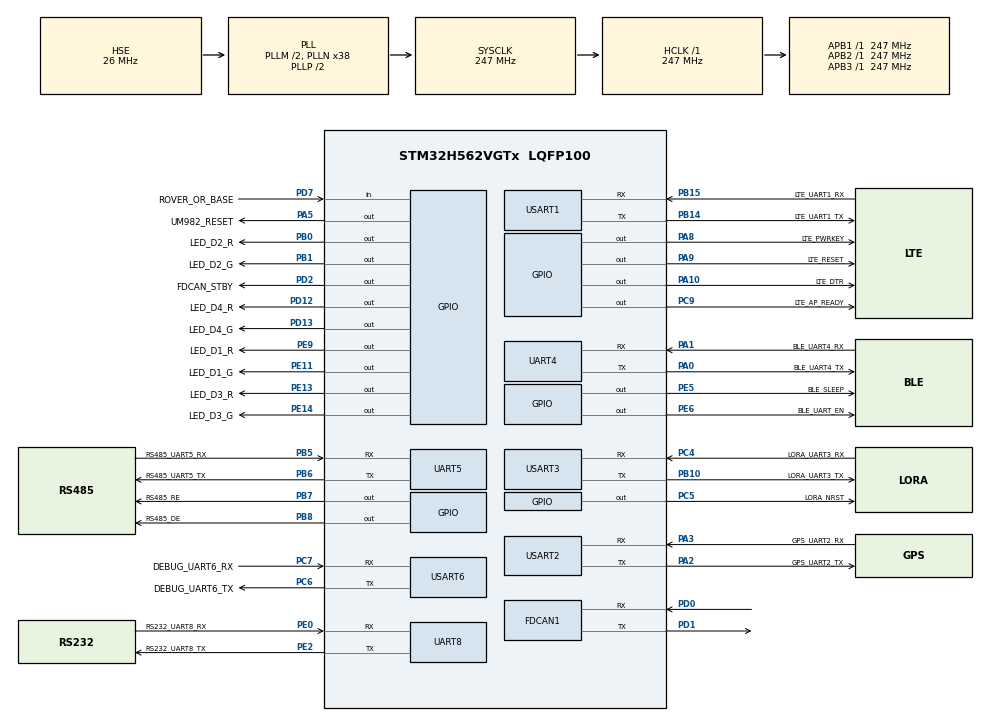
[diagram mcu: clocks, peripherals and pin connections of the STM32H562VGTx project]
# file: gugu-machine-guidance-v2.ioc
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BOOTPATH.BootPathName=LEGACY
BOOTPATH.UserSelectedBootPath=LEGACY
CORTEX_M33_NS.userName=CORTEX_M33
FDCAN1.CalculateBaudRateNominal=541666
FDCAN1.CalculateTimeBitNominal=1846
FDCAN1.CalculateTimeQuantumNominal=615.3846153846154
GPDMA1.CIRCULARMODE_GPDMACH4=ENABLE
GPDMA1.CIRCULARMODE_GPDMACH5=ENABLE
GPDMA1.CIRCULARMODE_GPDMACH6=ENABLE
GPDMA1.CIRCULARMODE_GPDMACH7=ENABLE
GPDMA1.IPHANDLE_GPDMACH4-SIMPLEREQUEST_GPDMACH4=__NULL
GPDMA1.IPHANDLE_GPDMACH5-SIMPLEREQUEST_GPDMACH5=__NULL
GPDMA1.IPHANDLE_GPDMACH6-SIMPLEREQUEST_GPDMACH6=__NULL
GPDMA1.IPHANDLE_GPDMACH7-SIMPLEREQUEST_GPDMACH7=__NULL
GPDMA1.REQUEST_GPDMACH4=GPDMA1_REQUEST_USART1_RX
GPDMA1.REQUEST_GPDMACH5=GPDMA1_REQUEST_UART4_RX
GPDMA1.REQUEST_GPDMACH6=GPDMA1_REQUEST_UART5_RX
GPDMA1.REQUEST_GPDMACH7=GPDMA1_REQUEST_USART6_RX
GPDMA2.CIRCULARMODE_GPDMACH4=ENABLE
GPDMA2.CIRCULARMODE_GPDMACH5=ENABLE
GPDMA2.CIRCULARMODE_GPDMACH6=ENABLE
GPDMA2.IPHANDLE_GPDMACH4-SIMPLEREQUEST_GPDMACH4=__NULL
GPDMA2.IPHANDLE_GPDMACH5-SIMPLEREQUEST_GPDMACH5=__NULL
GPDMA2.IPHANDLE_GPDMACH6-SIMPLEREQUEST_GPDMACH6=__NULL
GPDMA2.REQUEST_GPDMACH4=GPDMA2_REQUEST_USART2_RX
GPDMA2.REQUEST_GPDMACH5=GPDMA2_REQUEST_USART3_RX
GPDMA2.REQUEST_GPDMACH6=GPDMA2_REQUEST_UART8_RX
Mcu.Family=STM32H5
Mcu.Name=STM32H562VGTx
Mcu.Package=LQFP100
NVIC.FDCAN1_IT0_IRQn=true\:5\:0\:true\:false\:true\:true\:true\:true
NVIC.FDCAN1_IT1_IRQn=true\:5\:0\:true\:false\:true\:true\:true\:true
NVIC.GPDMA1_Channel4_IRQn=true\:5\:0\:true\:false\:true\:false\:true\:true
NVIC.GPDMA1_Channel5_IRQn=true\:5\:0\:true\:false\:true\:false\:true\:true
NVIC.GPDMA1_Channel6_IRQn=true\:5\:0\:true\:false\:true\:false\:true\:true
NVIC.GPDMA1_Channel7_IRQn=true\:5\:0\:true\:false\:true\:false\:true\:true
NVIC.GPDMA2_Channel4_IRQn=true\:5\:0\:true\:false\:true\:false\:true\:true
NVIC.GPDMA2_Channel5_IRQn=true\:5\:0\:true\:false\:true\:false\:true\:true
NVIC.GPDMA2_Channel6_IRQn=true\:5\:0\:true\:false\:true\:false\:true\:true
NVIC.PriorityGroup=NVIC_PRIORITYGROUP_4
NVIC.TIM6_IRQn=true\:15\:0\:false\:false\:true\:false\:true\:true
NVIC.TimeBase=TIM6_IRQn
NVIC.TimeBaseIP=TIM6
NVIC.UART4_IRQn=true\:5\:0\:true\:false\:true\:true\:true\:true
NVIC.UART5_IRQn=true\:5\:0\:true\:false\:true\:true\:true\:true
NVIC.UART8_IRQn=true\:5\:0\:true\:false\:true\:true\:true\:true
NVIC.USART1_IRQn=true\:5\:0\:true\:false\:true\:true\:true\:true
NVIC.USART2_IRQn=true\:5\:0\:true\:false\:true\:true\:true\:true
NVIC.USART3_IRQn=true\:5\:0\:true\:false\:true\:true\:true\:true
NVIC.USART6_IRQn=true\:5\:0\:true\:false\:true\:true\:true\:true
PA0.GPIO_Label=BLE_UART4_TX
PA0.Mode=Asynchronous
PA0.Signal=UART4_TX
PA1.GPIO_Label=BLE_UART4_RX
PA1.Mode=Asynchronous
PA1.Signal=UART4_RX
PA10.GPIO_Label=LTE_DTR
PA10.Signal=GPIO_Output
PA13(JTMS/SWDIO).Mode=Serial_Wire
PA13(JTMS/SWDIO).Signal=DEBUG_JTMS-SWDIO
PA14(JTCK/SWCLK).Mode=Serial_Wire
PA14(JTCK/SWCLK).Signal=DEBUG_JTCK-SWCLK
PA2.GPIO_Label=GPS_UART2_TX
PA2.Mode=Asynchronous
PA2.Signal=USART2_TX
PA3.GPIO_Label=GPS_UART2_RX
PA3.Mode=Asynchronous
PA3.Signal=USART2_RX
PA5.GPIO_Label=UM982_RESET
PA5.Signal=GPIO_Output
PA8.GPIO_Label=LTE_PWRKEY
PA8.Signal=GPIO_Output
PA9.GPIO_Label=LTE_RESET
PA9.Signal=GPIO_Output
PB0.GPIO_Label=LED_D2_R
PB0.Signal=GPIO_Output
PB1.GPIO_Label=LED_D2_G
PB1.Signal=GPIO_Output
PB10.GPIO_Label=LORA_UART3_TX
PB10.Mode=Asynchronous
PB10.Signal=USART3_TX
PB14.GPIO_Label=LTE_UART1_TX
PB14.Mode=Asynchronous
PB14.Signal=USART1_TX
PB15.GPIO_Label=LTE_UART1_RX
PB15.Mode=Asynchronous
PB15.Signal=USART1_RX
PB5.GPIO_Label=RS485_UART5_RX
PB5.Mode=Asynchronous
PB5.Signal=UART5_RX
PB6.GPIO_Label=RS485_UART5_TX
PB6.Mode=Asynchronous
PB6.Signal=UART5_TX
PB7.GPIO_Label=RS485_RE
PB7.Signal=GPIO_Output
PB8.GPIO_Label=RS485_DE
PB8.Signal=GPIO_Output
PC4.GPIO_Label=LORA_UART3_RX
PC4.Mode=Asynchronous
PC4.Signal=USART3_RX
PC5.GPIO_Label=LORA_NRST
PC5.Signal=GPIO_Output
PC6.GPIO_Label=DEBUG_UART6_TX
PC6.Mode=Asynchronous
PC6.Signal=USART6_TX
PC7.GPIO_Label=DEBUG_UART6_RX
PC7.Mode=Asynchronous
PC7.Signal=USART6_RX
PC9.GPIO_Label=LTE_AP_READY
PC9.Signal=GPIO_Output
PD0.Mode=FDCAN_Activate
PD0.Signal=FDCAN1_RX
PD1.Mode=FDCAN_Activate
PD1.Signal=FDCAN1_TX
PD12.GPIO_Label=LED_D4_R
PD12.Signal=GPIO_Output
PD13.GPIO_Label=LED_D4_G
PD13.Signal=GPIO_Output
PD2.GPIO_Label=FDCAN_STBY
PD2.Signal=GPIO_Output
PD7.GPIO_Label=ROVER_OR_BASE
PD7.Signal=GPIO_Input
PE0.GPIO_Label=RS232_UART8_RX
PE0.Mode=Asynchronous
PE0.Signal=UART8_RX
PE11.GPIO_Label=LED_D1_G
PE11.Signal=GPIO_Output
PE13.GPIO_Label=LED_D3_R
PE13.Signal=GPIO_Output
PE14.GPIO_Label=LED_D3_G
PE14.Signal=GPIO_Output
PE2.GPIO_Label=RS232_UART8_TX
PE2.Mode=Asynchronous
PE2.Signal=UART8_TX
PE5.GPIO_Label=BLE_SLEEP
PE5.Signal=GPIO_Output
PE6.GPIO_Label=BLE_UART_EN
PE6.Signal=GPIO_Output
PE9.GPIO_Label=LED_D1_R
PE9.Signal=GPIO_Output
PH0-OSC_IN(PH0).Mode=HSE-External-Oscillator
PH0-OSC_IN(PH0).Signal=RCC_OSC_IN
PH1-OSC_OUT(PH1).Mode=HSE-External-Oscillator
PH1-OSC_OUT(PH1).Signal=RCC_OSC_OUT
ProjectManager.HeapSize=0x200
ProjectManager.StackSize=0x400
ProjectManager.TargetToolchain=STM32CubeIDE
RCC.ADCFreq_Value=247000000
RCC.AHBFreq_Value=247000000
RCC.APB1Freq_Value=247000000
RCC.APB1TimFreq_Value=247000000
RCC.APB2Freq_Value=247000000
RCC.APB2TimFreq_Value=247000000
RCC.APB3Freq_Value=247000000
RCC.CSI_VALUE=4000000
RCC.CortexFreq_Value=247000000
RCC.EPOD_VALUE=26000000
RCC.HCLKFreq_Value=247000000
RCC.HSE_VALUE=26000000
RCC.HSI48_VALUE=48000000
RCC.HSI_VALUE=64000000
RCC.LSE_VALUE=32768
RCC.LSIRC_VALUE=32000
RCC.PLL2Source=RCC_PLL2_SOURCE_HSE
RCC.PLL3Source=RCC_PLL3_SOURCE_HSE
RCC.PLLFRACN=0
RCC.PLLM=2
RCC.PLLN=38
RCC.PLLSourceVirtual=RCC_PLL1_SOURCE_HSE
RCC.SYSCLKFreq_VALUE=247000000
RCC.SYSCLKSource=RCC_SYSCLKSOURCE_PLLCLK
RCC.USBFreq_Value=48000000
RCC.VCOOutputFreq_Value=494000000
USART1.VirtualMode-Asynchronous=VM_ASYNC
USART2.VirtualMode-Asynchronous=VM_ASYNC
USART3.VirtualMode-Asynchronous=VM_ASYNC
USART6.VirtualMode=VM_ASYNC
VP_BOOTPATH_VS_BOOTPATH.Mode=BP_Activate
VP_CORTEX_M33_NS_VS_Hclk.Mode=Hclk_Mode
VP_GPDMA1_VS_GPDMACH4.Mode=SIMPLEREQUEST_GPDMACH4
VP_GPDMA1_VS_GPDMACH5.Mode=SIMPLEREQUEST_GPDMACH5
VP_GPDMA1_VS_GPDMACH6.Mode=SIMPLEREQUEST_GPDMACH6
VP_GPDMA1_VS_GPDMACH7.Mode=SIMPLEREQUEST_GPDMACH7
VP_GPDMA2_VS_GPDMACH4.Mode=SIMPLEREQUEST_GPDMACH4
VP_GPDMA2_VS_GPDMACH5.Mode=SIMPLEREQUEST_GPDMACH5
VP_GPDMA2_VS_GPDMACH6.Mode=SIMPLEREQUEST_GPDMACH6
VP_MEMORYMAP_VS_MEMORYMAP.Mode=CurAppReg
VP_PWR_VS_LPOM.Mode=PowerOptimisation
VP_PWR_VS_SECSignals.Mode=Security/Privilege
VP_SYS_VS_tim6.Mode=TIM6
board=custom

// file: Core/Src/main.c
/* USER CODE BEGIN Header */
/**
  ******************************************************************************
  * @file           : main.c
  * @brief          : Main program body
  ******************************************************************************
  * @attention
  *
  * Copyright (c) 2026 STMicroelectronics.
  * All rights reserved.
  *
  * This software is licensed under terms that can be found in the LICENSE file
  * in the root directory of this software component.
  * If no LICENSE file comes with this software, it is provided AS-IS.
  *
  ******************************************************************************
  */
/* USER CODE END Header */
#include "main.h"

FDCAN_HandleTypeDef hfdcan1;

UART_HandleTypeDef huart4;
UART_HandleTypeDef huart5;
UART_HandleTypeDef huart8;
UART_HandleTypeDef huart1;
UART_HandleTypeDef huart2;
UART_HandleTypeDef huart3;
UART_HandleTypeDef huart6;
DMA_NodeTypeDef Node_GPDMA1_Channel5;
DMA_QListTypeDef List_GPDMA1_Channel5;
DMA_HandleTypeDef handle_GPDMA1_Channel5;
DMA_NodeTypeDef Node_GPDMA1_Channel6;
DMA_QListTypeDef List_GPDMA1_Channel6;
DMA_HandleTypeDef handle_GPDMA1_Channel6;
DMA_NodeTypeDef Node_GPDMA2_Channel6;
DMA_QListTypeDef List_GPDMA2_Channel6;
DMA_HandleTypeDef handle_GPDMA2_Channel6;
DMA_NodeTypeDef Node_GPDMA1_Channel4;
DMA_QListTypeDef List_GPDMA1_Channel4;
DMA_HandleTypeDef handle_GPDMA1_Channel4;
DMA_NodeTypeDef Node_GPDMA2_Channel4;
DMA_QListTypeDef List_GPDMA2_Channel4;
DMA_HandleTypeDef handle_GPDMA2_Channel4;
DMA_NodeTypeDef Node_GPDMA2_Channel5;
DMA_QListTypeDef List_GPDMA2_Channel5;
DMA_HandleTypeDef handle_GPDMA2_Channel5;
DMA_NodeTypeDef Node_GPDMA1_Channel7;
DMA_QListTypeDef List_GPDMA1_Channel7;
DMA_HandleTypeDef handle_GPDMA1_Channel7;

void SystemClock_Config(void);
static void MX_GPIO_Init(void);
static void MX_GPDMA1_Init(void);
static void MX_GPDMA2_Init(void);

/* USER CODE BEGIN 0 */
uint32_t uart_send(USART_TypeDef *handle, const char *buf, size_t len) {
    for (int i = 0; i < len; i++) {
        while (!LL_USART_IsActiveFlag_TXE(handle))
            ;
        LL_USART_TransmitData8(handle, *(buf + i));
    }

    while (!LL_USART_IsActiveFlag_TC(handle))
        ;

    return len;
}

static void dwt_init(void) {
    CoreDebug->DEMCR |= CoreDebug_DEMCR_TRCENA_Msk;
    DWT->CYCCNT = 0;
    DWT->CTRL |= DWT_CTRL_CYCCNTENA_Msk;
}

void initThread(void *pvParameter) {
    const board_config_t *config = board_get_config();
    user_params_t *params = flash_params_get_current();
    dwt_init();
    flash_params_init();
    event_bus_init();
    gps_app_start();

    /* Base 모드 + Auto-Fix 활성화일 때 초기화 */
    if (gps_role_is_base() && params->base_auto_fix_enabled) {
        LOG_INFO("Base Auto-Fix 모드 활성화");
        if (base_auto_fix_init(0)) {
            if (base_auto_fix_start()) {
                LOG_INFO("Base Auto-Fix 시작 성공");
            }
            else {
                LOG_ERR("Base Auto-Fix 시작 실패");
            }
        }
        else {
            LOG_ERR("Base Auto-Fix 초기화 실패");
        }
        gsm_task_create(NULL); // NTRIP 시작
        lora_app_start();      // LoRa 시작
        ble_app_start();       // BLE 시작
    }

    //  flash_params_set_manual_position(true, "37.2901527", "127.033646955", "100.918");

    //	flash_params_set_ntrip_url("www.gnssdata.or.kr");
    //	flash_params_set_ntrip_port("2101");
    //	flash_params_set_ntrip_mountpoint("SONP-RTCM32");
    //	flash_params_set_ntrip_id("mj.kang@iotiz.kr");
    //	flash_params_set_ntrip_pw("gnss");

    //	 flash_params_set_ntrip_url("ntrip.hi-rtk.io");
    //	 flash_params_set_ntrip_port("2101");
    //	 flash_params_set_ntrip_mountpoint("RTK_SMT_MSG");
    //	 flash_params_set_ntrip_id("iotiz1");
    //	 flash_params_set_ntrip_pw("1234");

    // flash_params_set_ntrip_url("RTS1.ngii.go.kr");
    // flash_params_set_ntrip_port("2101");
    // flash_params_set_ntrip_mountpoint("VRS-RTCM31");
    // flash_params_set_ntrip_id("nb030761");
    // flash_params_set_ntrip_pw("ngii");

    //  led_init();
    //
    //  if(config->board == BOARD_TYPE_BASE_F9P || config->board == BOARD_TYPE_BASE_UM982)
    //  {
    //    gps_init_all();
    //
    //    if(params->use_manual_position == false)
    //    {
    //      // gsm_task_create(NULL);
    //    }
    //
    //    // lora_app_start();
    //  }
    //
    //  if(config->use_rs485)
    //  {
    //    dwt_init();
    //
    //    #if USE_SOFTUART
    //      rs485_app_init();
    //#else
    //      rs485_init_all();
    //    #endif
    //  }
    //
    //  if(config->use_ble)
    //  {
    //	  ble_app_start();
    //  }

    vTaskDelete(NULL);
}

/* USER CODE END 0 */

int main(void) {

    /* MCU Configuration--------------------------------------------------------*/

    /* Reset of all peripherals, Initializes the Flash interface and the Systick. */
    HAL_Init();

    /* Configure the system clock */
    SystemClock_Config();

    /* Initialize all configured peripherals */
    MX_GPIO_Init();
    MX_GPDMA1_Init();
    MX_GPDMA2_Init();
    MX_USART1_UART_Init();
    MX_FDCAN1_Init();
    MX_USART2_UART_Init();
    MX_UART4_Init();
    MX_UART5_Init();
    MX_UART8_Init();
    MX_USART6_UART_Init();
    MX_USART3_UART_Init();
    /* USER CODE BEGIN 2 */
    SEGGER_SYSVIEW_DisableEvents(SYSVIEW_EVTMASK_ISR_ENTER | SYSVIEW_EVTMASK_ISR_EXIT);
    traceSTART();
    xTaskCreate(initThread, "init", 512, NULL, tskIDLE_PRIORITY + 1, NULL);
    vTaskStartScheduler();
    /* USER CODE END 2 */

    /* Infinite loop */
    while (1) {

    }
}

void SystemClock_Config(void) {
    RCC_OscInitTypeDef RCC_OscInitStruct = {0};
    RCC_ClkInitTypeDef RCC_ClkInitStruct = {0};

    /** Configure the main internal regulator output voltage
  */
    __HAL_PWR_VOLTAGESCALING_CONFIG(PWR_REGULATOR_VOLTAGE_SCALE0);

    while (!__HAL_PWR_GET_FLAG(PWR_FLAG_VOSRDY)) {}

    /** Initializes the RCC Oscillators according to the specified parameters
  * in the RCC_OscInitTypeDef structure.
  */
    RCC_OscInitStruct.OscillatorType = RCC_OSCILLATORTYPE_HSE;
    RCC_OscInitStruct.HSEState = RCC_HSE_ON;
    RCC_OscInitStruct.PLL.PLLState = RCC_PLL_ON;
    RCC_OscInitStruct.PLL.PLLSource = RCC_PLL1_SOURCE_HSE;
    RCC_OscInitStruct.PLL.PLLM = 2;
    RCC_OscInitStruct.PLL.PLLN = 38;
    RCC_OscInitStruct.PLL.PLLP = 2;
    RCC_OscInitStruct.PLL.PLLQ = 2;
    RCC_OscInitStruct.PLL.PLLR = 2;
    RCC_OscInitStruct.PLL.PLLRGE = RCC_PLL1_VCIRANGE_3;
    RCC_OscInitStruct.PLL.PLLVCOSEL = RCC_PLL1_VCORANGE_WIDE;
    RCC_OscInitStruct.PLL.PLLFRACN = 0;
    if (HAL_RCC_OscConfig(&RCC_OscInitStruct) != HAL_OK) {
        Error_Handler();
    }

    /** Initializes the CPU, AHB and APB buses clocks
  */
    RCC_ClkInitStruct.ClockType = RCC_CLOCKTYPE_HCLK | RCC_CLOCKTYPE_SYSCLK | RCC_CLOCKTYPE_PCLK1 |
                                  RCC_CLOCKTYPE_PCLK2 | RCC_CLOCKTYPE_PCLK3;
    RCC_ClkInitStruct.SYSCLKSource = RCC_SYSCLKSOURCE_PLLCLK;
    RCC_ClkInitStruct.AHBCLKDivider = RCC_SYSCLK_DIV1;
    RCC_ClkInitStruct.APB1CLKDivider = RCC_HCLK_DIV1;
    RCC_ClkInitStruct.APB2CLKDivider = RCC_HCLK_DIV1;
    RCC_ClkInitStruct.APB3CLKDivider = RCC_HCLK_DIV1;

    if (HAL_RCC_ClockConfig(&RCC_ClkInitStruct, FLASH_LATENCY_5) != HAL_OK) {
        Error_Handler();
    }

    /** Configure the programming delay
  */
    __HAL_FLASH_SET_PROGRAM_DELAY(FLASH_PROGRAMMING_DELAY_2);
}

void MX_FDCAN1_Init(void) {

    hfdcan1.Instance = FDCAN1;
    hfdcan1.Init.ClockDivider = FDCAN_CLOCK_DIV1;
    hfdcan1.Init.FrameFormat = FDCAN_FRAME_CLASSIC;
    hfdcan1.Init.Mode = FDCAN_MODE_NORMAL;
    hfdcan1.Init.AutoRetransmission = DISABLE;
    hfdcan1.Init.TransmitPause = DISABLE;
    hfdcan1.Init.ProtocolException = DISABLE;
    hfdcan1.Init.NominalPrescaler = 16;
    hfdcan1.Init.NominalSyncJumpWidth = 1;
    hfdcan1.Init.NominalTimeSeg1 = 1;
    hfdcan1.Init.NominalTimeSeg2 = 1;
    hfdcan1.Init.DataPrescaler = 1;
    hfdcan1.Init.DataSyncJumpWidth = 1;
    hfdcan1.Init.DataTimeSeg1 = 1;
    hfdcan1.Init.DataTimeSeg2 = 1;
    hfdcan1.Init.StdFiltersNbr = 0;
    hfdcan1.Init.ExtFiltersNbr = 0;
    hfdcan1.Init.TxFifoQueueMode = FDCAN_TX_FIFO_OPERATION;
    if (HAL_FDCAN_Init(&hfdcan1) != HAL_OK) {
        Error_Handler();
    }
}

static void MX_GPDMA1_Init(void) {

    /* Peripheral clock enable */
    __HAL_RCC_GPDMA1_CLK_ENABLE();

    /* GPDMA1 interrupt Init */
    HAL_NVIC_SetPriority(GPDMA1_Channel4_IRQn, 5, 0);
    HAL_NVIC_EnableIRQ(GPDMA1_Channel4_IRQn);
    HAL_NVIC_SetPriority(GPDMA1_Channel5_IRQn, 5, 0);
    HAL_NVIC_EnableIRQ(GPDMA1_Channel5_IRQn);
    HAL_NVIC_SetPriority(GPDMA1_Channel6_IRQn, 5, 0);
    HAL_NVIC_EnableIRQ(GPDMA1_Channel6_IRQn);
    HAL_NVIC_SetPriority(GPDMA1_Channel7_IRQn, 5, 0);
    HAL_NVIC_EnableIRQ(GPDMA1_Channel7_IRQn);

}

static void MX_GPDMA2_Init(void) {

    /* Peripheral clock enable */
    __HAL_RCC_GPDMA2_CLK_ENABLE();

    /* GPDMA2 interrupt Init */
    HAL_NVIC_SetPriority(GPDMA2_Channel4_IRQn, 5, 0);
    HAL_NVIC_EnableIRQ(GPDMA2_Channel4_IRQn);
    HAL_NVIC_SetPriority(GPDMA2_Channel5_IRQn, 5, 0);
    HAL_NVIC_EnableIRQ(GPDMA2_Channel5_IRQn);
    HAL_NVIC_SetPriority(GPDMA2_Channel6_IRQn, 5, 0);
    HAL_NVIC_EnableIRQ(GPDMA2_Channel6_IRQn);

}

void MX_UART4_Init(void) {

    huart4.Instance = UART4;
    huart4.Init.BaudRate = 115200;
    huart4.Init.WordLength = UART_WORDLENGTH_8B;
    huart4.Init.StopBits = UART_STOPBITS_1;
    huart4.Init.Parity = UART_PARITY_NONE;
    huart4.Init.Mode = UART_MODE_TX_RX;
    huart4.Init.HwFlowCtl = UART_HWCONTROL_NONE;
    huart4.Init.OverSampling = UART_OVERSAMPLING_16;
    huart4.Init.OneBitSampling = UART_ONE_BIT_SAMPLE_DISABLE;
    huart4.Init.ClockPrescaler = UART_PRESCALER_DIV1;
    huart4.AdvancedInit.AdvFeatureInit = UART_ADVFEATURE_NO_INIT;
    if (HAL_UART_Init(&huart4) != HAL_OK) {
        Error_Handler();
    }
    if (HAL_UARTEx_SetTxFifoThreshold(&huart4, UART_TXFIFO_THRESHOLD_1_8) != HAL_OK) {
        Error_Handler();
    }
    if (HAL_UARTEx_SetRxFifoThreshold(&huart4, UART_RXFIFO_THRESHOLD_1_8) != HAL_OK) {
        Error_Handler();
    }
    if (HAL_UARTEx_DisableFifoMode(&huart4) != HAL_OK) {
        Error_Handler();
    }
}

void MX_UART5_Init(void) {

    huart5.Instance = UART5;
    huart5.Init.BaudRate = 115200;
    huart5.Init.WordLength = UART_WORDLENGTH_8B;
    huart5.Init.StopBits = UART_STOPBITS_1;
    huart5.Init.Parity = UART_PARITY_NONE;
    huart5.Init.Mode = UART_MODE_TX_RX;
    huart5.Init.HwFlowCtl = UART_HWCONTROL_NONE;
    huart5.Init.OverSampling = UART_OVERSAMPLING_16;
    huart5.Init.OneBitSampling = UART_ONE_BIT_SAMPLE_DISABLE;
    huart5.Init.ClockPrescaler = UART_PRESCALER_DIV1;
    huart5.AdvancedInit.AdvFeatureInit = UART_ADVFEATURE_NO_INIT;
    if (HAL_UART_Init(&huart5) != HAL_OK) {
        Error_Handler();
    }
    if (HAL_UARTEx_SetTxFifoThreshold(&huart5, UART_TXFIFO_THRESHOLD_1_8) != HAL_OK) {
        Error_Handler();
    }
    if (HAL_UARTEx_SetRxFifoThreshold(&huart5, UART_RXFIFO_THRESHOLD_1_8) != HAL_OK) {
        Error_Handler();
    }
    if (HAL_UARTEx_DisableFifoMode(&huart5) != HAL_OK) {
        Error_Handler();
    }
}

void MX_UART8_Init(void) {

    huart8.Instance = UART8;
    huart8.Init.BaudRate = 115200;
    huart8.Init.WordLength = UART_WORDLENGTH_8B;
    huart8.Init.StopBits = UART_STOPBITS_1;
    huart8.Init.Parity = UART_PARITY_NONE;
    huart8.Init.Mode = UART_MODE_TX_RX;
    huart8.Init.HwFlowCtl = UART_HWCONTROL_NONE;
    huart8.Init.OverSampling = UART_OVERSAMPLING_16;
    huart8.Init.OneBitSampling = UART_ONE_BIT_SAMPLE_DISABLE;
    huart8.Init.ClockPrescaler = UART_PRESCALER_DIV1;
    huart8.AdvancedInit.AdvFeatureInit = UART_ADVFEATURE_NO_INIT;
    if (HAL_UART_Init(&huart8) != HAL_OK) {
        Error_Handler();
    }
    if (HAL_UARTEx_SetTxFifoThreshold(&huart8, UART_TXFIFO_THRESHOLD_1_8) != HAL_OK) {
        Error_Handler();
    }
    if (HAL_UARTEx_SetRxFifoThreshold(&huart8, UART_RXFIFO_THRESHOLD_1_8) != HAL_OK) {
        Error_Handler();
    }
    if (HAL_UARTEx_DisableFifoMode(&huart8) != HAL_OK) {
        Error_Handler();
    }
}

void MX_USART1_UART_Init(void) {

    huart1.Instance = USART1;
    huart1.Init.BaudRate = 115200;
    huart1.Init.WordLength = UART_WORDLENGTH_8B;
    huart1.Init.StopBits = UART_STOPBITS_1;
    huart1.Init.Parity = UART_PARITY_NONE;
    huart1.Init.Mode = UART_MODE_TX_RX;
    huart1.Init.HwFlowCtl = UART_HWCONTROL_NONE;
    huart1.Init.OverSampling = UART_OVERSAMPLING_16;
    huart1.Init.OneBitSampling = UART_ONE_BIT_SAMPLE_DISABLE;
    huart1.Init.ClockPrescaler = UART_PRESCALER_DIV1;
    huart1.AdvancedInit.AdvFeatureInit = UART_ADVFEATURE_NO_INIT;
    if (HAL_UART_Init(&huart1) != HAL_OK) {
        Error_Handler();
    }
    if (HAL_UARTEx_SetTxFifoThreshold(&huart1, UART_TXFIFO_THRESHOLD_1_8) != HAL_OK) {
        Error_Handler();
    }
    if (HAL_UARTEx_SetRxFifoThreshold(&huart1, UART_RXFIFO_THRESHOLD_1_8) != HAL_OK) {
        Error_Handler();
    }
    if (HAL_UARTEx_DisableFifoMode(&huart1) != HAL_OK) {
        Error_Handler();
    }
}

void MX_USART2_UART_Init(void) {

    huart2.Instance = USART2;
    huart2.Init.BaudRate = 115200;
    huart2.Init.WordLength = UART_WORDLENGTH_8B;
    huart2.Init.StopBits = UART_STOPBITS_1;
    huart2.Init.Parity = UART_PARITY_NONE;
    huart2.Init.Mode = UART_MODE_TX_RX;
    huart2.Init.HwFlowCtl = UART_HWCONTROL_NONE;
    huart2.Init.OverSampling = UART_OVERSAMPLING_16;
    huart2.Init.OneBitSampling = UART_ONE_BIT_SAMPLE_DISABLE;
    huart2.Init.ClockPrescaler = UART_PRESCALER_DIV1;
    huart2.AdvancedInit.AdvFeatureInit = UART_ADVFEATURE_NO_INIT;
    if (HAL_UART_Init(&huart2) != HAL_OK) {
        Error_Handler();
    }
    if (HAL_UARTEx_SetTxFifoThreshold(&huart2, UART_TXFIFO_THRESHOLD_1_8) != HAL_OK) {
        Error_Handler();
    }
    if (HAL_UARTEx_SetRxFifoThreshold(&huart2, UART_RXFIFO_THRESHOLD_1_8) != HAL_OK) {
        Error_Handler();
    }
    if (HAL_UARTEx_DisableFifoMode(&huart2) != HAL_OK) {
        Error_Handler();
    }
}

void MX_USART3_UART_Init(void) {

    huart3.Instance = USART3;
    huart3.Init.BaudRate = 115200;
    huart3.Init.WordLength = UART_WORDLENGTH_8B;
    huart3.Init.StopBits = UART_STOPBITS_1;
    huart3.Init.Parity = UART_PARITY_NONE;
    huart3.Init.Mode = UART_MODE_TX_RX;
    huart3.Init.HwFlowCtl = UART_HWCONTROL_NONE;
    huart3.Init.OverSampling = UART_OVERSAMPLING_16;
    huart3.Init.OneBitSampling = UART_ONE_BIT_SAMPLE_DISABLE;
    huart3.Init.ClockPrescaler = UART_PRESCALER_DIV1;
    huart3.AdvancedInit.AdvFeatureInit = UART_ADVFEATURE_NO_INIT;
    if (HAL_UART_Init(&huart3) != HAL_OK) {
        Error_Handler();
    }
    if (HAL_UARTEx_SetTxFifoThreshold(&huart3, UART_TXFIFO_THRESHOLD_1_8) != HAL_OK) {
        Error_Handler();
    }
    if (HAL_UARTEx_SetRxFifoThreshold(&huart3, UART_RXFIFO_THRESHOLD_1_8) != HAL_OK) {
        Error_Handler();
    }
    if (HAL_UARTEx_DisableFifoMode(&huart3) != HAL_OK) {
        Error_Handler();
    }
}

void MX_USART6_UART_Init(void) {

    huart6.Instance = USART6;
    huart6.Init.BaudRate = 115200;
    huart6.Init.WordLength = UART_WORDLENGTH_8B;
    huart6.Init.StopBits = UART_STOPBITS_1;
    huart6.Init.Parity = UART_PARITY_NONE;
    huart6.Init.Mode = UART_MODE_TX_RX;
    huart6.Init.HwFlowCtl = UART_HWCONTROL_NONE;
    huart6.Init.OverSampling = UART_OVERSAMPLING_16;
    huart6.Init.OneBitSampling = UART_ONE_BIT_SAMPLE_DISABLE;
    huart6.Init.ClockPrescaler = UART_PRESCALER_DIV1;
    huart6.AdvancedInit.AdvFeatureInit = UART_ADVFEATURE_NO_INIT;
    if (HAL_UART_Init(&huart6) != HAL_OK) {
        Error_Handler();
    }
    if (HAL_UARTEx_SetTxFifoThreshold(&huart6, UART_TXFIFO_THRESHOLD_1_8) != HAL_OK) {
        Error_Handler();
    }
    if (HAL_UARTEx_SetRxFifoThreshold(&huart6, UART_RXFIFO_THRESHOLD_1_8) != HAL_OK) {
        Error_Handler();
    }
    if (HAL_UARTEx_DisableFifoMode(&huart6) != HAL_OK) {
        Error_Handler();
    }
}

static void MX_GPIO_Init(void) {
    GPIO_InitTypeDef GPIO_InitStruct = {0};

    /* GPIO Ports Clock Enable */
    __HAL_RCC_GPIOE_CLK_ENABLE();
    __HAL_RCC_GPIOC_CLK_ENABLE();
    __HAL_RCC_GPIOH_CLK_ENABLE();
    __HAL_RCC_GPIOA_CLK_ENABLE();
    __HAL_RCC_GPIOB_CLK_ENABLE();
    __HAL_RCC_GPIOD_CLK_ENABLE();

    /*Configure GPIO pin Output Level */
    HAL_GPIO_WritePin(GPIOE,
                      BLE_SLEEP_Pin | BLE_UART_EN_Pin | LED_D1_R_Pin | LED_D1_G_Pin | LED_D3_R_Pin |
                          LED_D3_G_Pin,
                      GPIO_PIN_RESET);

    /*Configure GPIO pin Output Level */
    HAL_GPIO_WritePin(GPIOA, UM982_RESET_Pin | LTE_PWRKEY_Pin | LTE_RESET_Pin | LTE_DTR_Pin,
                      GPIO_PIN_RESET);

    /*Configure GPIO pin Output Level */
    HAL_GPIO_WritePin(GPIOC, LORA_NRST_Pin | LTE_AP_READY_Pin, GPIO_PIN_RESET);

    /*Configure GPIO pin Output Level */
    HAL_GPIO_WritePin(GPIOB, LED_D2_R_Pin | LED_D2_G_Pin | RS485_RE_Pin | RS485_DE_Pin,
                      GPIO_PIN_RESET);

    /*Configure GPIO pin Output Level */
    HAL_GPIO_WritePin(GPIOD, LED_D4_R_Pin | LED_D4_G_Pin | FDCAN_STBY_Pin, GPIO_PIN_RESET);

    /*Configure GPIO pins : PE3 PE4 PE7 PE8
                           PE10 PE12 PE15 */
    GPIO_InitStruct.Pin =
        GPIO_PIN_3 | GPIO_PIN_4 | GPIO_PIN_7 | GPIO_PIN_8 | GPIO_PIN_10 | GPIO_PIN_12 | GPIO_PIN_15;
    GPIO_InitStruct.Mode = GPIO_MODE_ANALOG;
    GPIO_InitStruct.Pull = GPIO_NOPULL;
    HAL_GPIO_Init(GPIOE, &GPIO_InitStruct);

    /*Configure GPIO pins : BLE_SLEEP_Pin BLE_UART_EN_Pin LED_D1_R_Pin LED_D1_G_Pin
                           LED_D3_R_Pin LED_D3_G_Pin */
    GPIO_InitStruct.Pin =
        BLE_SLEEP_Pin | BLE_UART_EN_Pin | LED_D1_R_Pin | LED_D1_G_Pin | LED_D3_R_Pin | LED_D3_G_Pin;
    GPIO_InitStruct.Mode = GPIO_MODE_OUTPUT_PP;
    GPIO_InitStruct.Pull = GPIO_NOPULL;
    GPIO_InitStruct.Speed = GPIO_SPEED_FREQ_LOW;
    HAL_GPIO_Init(GPIOE, &GPIO_InitStruct);

    /*Configure GPIO pins : PC13 PC14 PC15 PC0
                           PC1 PC2 PC3 PC8
                           PC10 PC11 PC12 */
    GPIO_InitStruct.Pin = GPIO_PIN_13 | GPIO_PIN_14 | GPIO_PIN_15 | GPIO_PIN_0 | GPIO_PIN_1 |
                          GPIO_PIN_2 | GPIO_PIN_3 | GPIO_PIN_8 | GPIO_PIN_10 | GPIO_PIN_11 |
                          GPIO_PIN_12;
    GPIO_InitStruct.Mode = GPIO_MODE_ANALOG;
    GPIO_InitStruct.Pull = GPIO_NOPULL;
    HAL_GPIO_Init(GPIOC, &GPIO_InitStruct);

    /*Configure GPIO pins : PA4 PA6 PA7 PA11
                           PA12 PA15 */
    GPIO_InitStruct.Pin =
        GPIO_PIN_4 | GPIO_PIN_6 | GPIO_PIN_7 | GPIO_PIN_11 | GPIO_PIN_12 | GPIO_PIN_15;
    GPIO_InitStruct.Mode = GPIO_MODE_ANALOG;
    GPIO_InitStruct.Pull = GPIO_NOPULL;
    HAL_GPIO_Init(GPIOA, &GPIO_InitStruct);

    /*Configure GPIO pins : UM982_RESET_Pin LTE_PWRKEY_Pin LTE_RESET_Pin LTE_DTR_Pin */
    GPIO_InitStruct.Pin = UM982_RESET_Pin | LTE_PWRKEY_Pin | LTE_RESET_Pin | LTE_DTR_Pin;
    GPIO_InitStruct.Mode = GPIO_MODE_OUTPUT_PP;
    GPIO_InitStruct.Pull = GPIO_NOPULL;
    GPIO_InitStruct.Speed = GPIO_SPEED_FREQ_LOW;
    HAL_GPIO_Init(GPIOA, &GPIO_InitStruct);

    /*Configure GPIO pins : LORA_NRST_Pin LTE_AP_READY_Pin */
    GPIO_InitStruct.Pin = LORA_NRST_Pin | LTE_AP_READY_Pin;
    GPIO_InitStruct.Mode = GPIO_MODE_OUTPUT_PP;
    GPIO_InitStruct.Pull = GPIO_NOPULL;
    GPIO_InitStruct.Speed = GPIO_SPEED_FREQ_LOW;
    HAL_GPIO_Init(GPIOC, &GPIO_InitStruct);

    /*Configure GPIO pins : LED_D2_R_Pin LED_D2_G_Pin RS485_RE_Pin RS485_DE_Pin */
    GPIO_InitStruct.Pin = LED_D2_R_Pin | LED_D2_G_Pin | RS485_RE_Pin | RS485_DE_Pin;
    GPIO_InitStruct.Mode = GPIO_MODE_OUTPUT_PP;
    GPIO_InitStruct.Pull = GPIO_NOPULL;
    GPIO_InitStruct.Speed = GPIO_SPEED_FREQ_LOW;
    HAL_GPIO_Init(GPIOB, &GPIO_InitStruct);

    /*Configure GPIO pins : PB2 PB12 PB13 PB3
                           PB4 PB9 */
    GPIO_InitStruct.Pin =
        GPIO_PIN_2 | GPIO_PIN_12 | GPIO_PIN_13 | GPIO_PIN_3 | GPIO_PIN_4 | GPIO_PIN_9;
    GPIO_InitStruct.Mode = GPIO_MODE_ANALOG;
    GPIO_InitStruct.Pull = GPIO_NOPULL;
    HAL_GPIO_Init(GPIOB, &GPIO_InitStruct);

    /*Configure GPIO pins : PD8 PD9 PD10 PD11
                           PD14 PD15 PD3 PD4
                           PD5 PD6 */
    GPIO_InitStruct.Pin = GPIO_PIN_8 | GPIO_PIN_9 | GPIO_PIN_10 | GPIO_PIN_11 | GPIO_PIN_14 |
                          GPIO_PIN_15 | GPIO_PIN_3 | GPIO_PIN_4 | GPIO_PIN_5 | GPIO_PIN_6;
    GPIO_InitStruct.Mode = GPIO_MODE_ANALOG;
    GPIO_InitStruct.Pull = GPIO_NOPULL;
    HAL_GPIO_Init(GPIOD, &GPIO_InitStruct);

    /*Configure GPIO pins : LED_D4_R_Pin LED_D4_G_Pin FDCAN_STBY_Pin */
    GPIO_InitStruct.Pin = LED_D4_R_Pin | LED_D4_G_Pin | FDCAN_STBY_Pin;
    GPIO_InitStruct.Mode = GPIO_MODE_OUTPUT_PP;
    GPIO_InitStruct.Pull = GPIO_NOPULL;
    GPIO_InitStruct.Speed = GPIO_SPEED_FREQ_LOW;
    HAL_GPIO_Init(GPIOD, &GPIO_InitStruct);

    /*Configure GPIO pin : ROVER_OR_BASE_Pin */
    GPIO_InitStruct.Pin = ROVER_OR_BASE_Pin;
    GPIO_InitStruct.Mode = GPIO_MODE_INPUT;
    GPIO_InitStruct.Pull = GPIO_NOPULL;
    HAL_GPIO_Init(ROVER_OR_BASE_GPIO_Port, &GPIO_InitStruct);

}

void HAL_TIM_PeriodElapsedCallback(TIM_HandleTypeDef *htim) {
    if (htim->Instance == TIM6) {
        HAL_IncTick();
    }
}

void Error_Handler(void) {
    __disable_irq();
    while (1) {}
}
